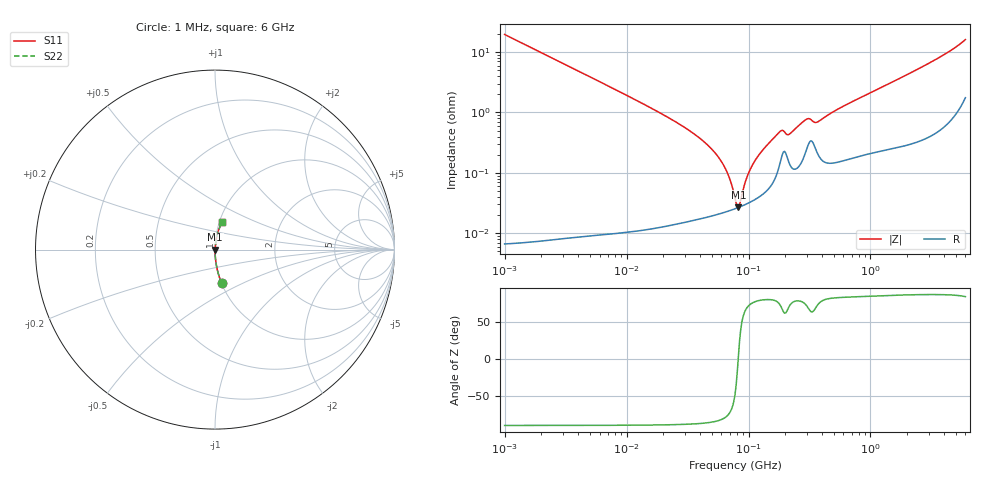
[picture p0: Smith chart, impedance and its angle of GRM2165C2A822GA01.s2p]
!Murata Part Number: GRM2165C2A822GA01
!These Parameters are Measured in Series Mode Connection
!Data Generated on Mar 30, 2021
!  o--ll--o
!Port1  Port2
!  o------o
!Operation Temp=25[degC], DC Bias Voltage=0[V]
!Freq. Start=1000[kHz] Stop=6[GHz] 401[Steps]
# Hz S RI R 50
!Freq.(Hz) S11(Real) S11(Imag) S21(Real) S21(Imag) S12(Real) S12(Imag) S22(Real) S22(Imag)
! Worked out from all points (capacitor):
!   401 points, 1 MHz to 6 GHz, reference 50 ohm
!   read as one part in series: C = 8.12 nF near 1.044 MHz
!   lowest |Z| = 26.9 mohm at 82.68 MHz (marker M1)
!   series resonance near 82.29 MHz, so ESL is about 460 pH
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1000000  0.037 -0.1886  0.963 0.1886  0.963 0.1886  0.037 -0.1886
4293785  0.00215 -0.0454  0.9978 0.0454  0.9978 0.0454  0.00215 -0.0454
1.843659e7  0.000225 -0.0101  0.9998 0.0101  0.9998 0.0101  0.000225 -0.0101
3.46415e7  0.000183 -0.00463  0.9998 0.00463  0.9998 0.00463  0.000183 -0.00463
5.124051e7  0.000201 -0.00233  0.9998 0.00233  0.9998 0.00233  0.000201 -0.00233
6.508975e7  0.000227 -0.00112  0.9998 0.00112  0.9998 0.00112  0.000227 -0.00112
7.100585e7  0.000239 -0.000702  0.9998 0.000702  0.9998 0.000702  0.000239 -0.000702
7.745967e7  0.000254 -0.000287  0.9997 0.000287  0.9997 0.000287  0.000254 -0.000287
8.090333e7  0.000263 -8.07e-05  0.9997 8.07e-05  0.9997 8.07e-05  0.000263 -8.07e-05
8.268215e7  0.000268 2.26e-05  0.9997 -2.26e-05  0.9997 -2.26e-05  0.000268 2.26e-05
1.027698e8  0.000327 0.00107  0.9997 -0.00107  0.9997 -0.00107  0.000327 0.00107
1.170949e8  0.00038 0.00174  0.9996 -0.00174  0.9996 -0.00174  0.00038 0.00174
1.363501e8  0.00048 0.00259  0.9995 -0.00259  0.9995 -0.00259  0.00048 0.00259
1.809028e8  0.00145 0.00461  0.9986 -0.00461  0.9986 -0.00461  0.00145 0.00461
2.152823e8  0.00147 0.00409  0.9985 -0.00409  0.9985 -0.00409  0.00147 0.00409
2.919064e8  0.00216 0.00718  0.9978 -0.00718  0.9978 -0.00718  0.00216 0.00718
3.325952e8  0.00334 0.00647  0.9967 -0.00647  0.9967 -0.00647  0.00334 0.00647
3.708027e8  0.00207 0.00669  0.9979 -0.00669  0.9979 -0.00669  0.00207 0.00669
5.728625e8  0.00169 0.012  0.9983 -0.012  0.9983 -0.012  0.00169 0.012
1.428092e9  0.00334 0.0299  0.9967 -0.0299  0.9967 -0.0299  0.00334 0.0299
3.483508e9  0.0104 0.0756  0.9896 -0.0756  0.9896 -0.0756  0.0104 0.0756
6e9  0.0411 0.1512  0.9589 -0.1512  0.9589 -0.1512  0.0411 0.1512
